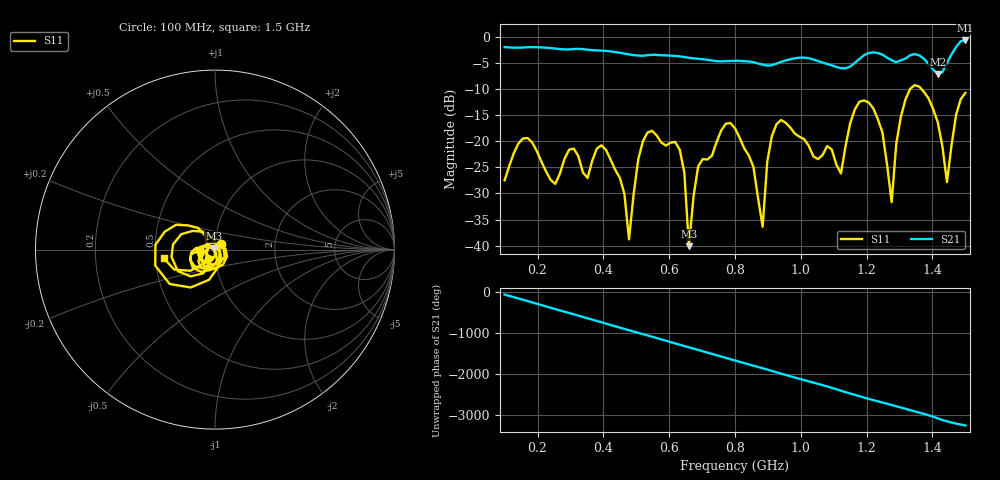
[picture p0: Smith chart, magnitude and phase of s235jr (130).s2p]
! NanoVNA-App
! Date: 2025-09-25 15:05:10
! Start: 100MHz Stop: 1,5GHz Points: 101
! S-Parameter data: F S11 S21 S12 S22
# Hz S RI R 50
!  Frequency  S11_Real  S11_Imag  S21_Real  S21_Imag  S12_Real  S12_Imag  S22_Real  S22_Imag
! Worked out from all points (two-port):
!   101 points, 100 MHz to 1.5 GHz, reference 50 ohm
!   highest |S21| = -0.70 dB at 1.5 GHz (marker M1); lowest = -7.1 dB at 1.416 GHz (marker M2)
!   |S21| within 3 dB of the highest: start of sweep to 625.5 MHz; 1.189 GHz to 1.255 GHz (66.28 MHz wide, 5.43 % of centre) (the widest 2 of 4)
!   lowest |S11| = -40.1 dB at 660 MHz (marker M3), VSWR 1.02, Z = 49.3 + j0.641 ohm
!   |S11| at or under -10 dB: start of sweep to 1.332 GHz; 1.366 GHz to end of sweep
!   S12 and S22 are empty: the file has one direction only
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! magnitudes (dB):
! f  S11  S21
! 100 MHz  -27.5  -2.0
! 156 MHz  -19.5  -2.1
! 338 MHz  -26.0  -2.4
! 408 MHz  -21.7  -2.7
! 478 MHz  -38.8  -3.4
! 520 MHz  -20.0  -3.6
! 576 MHz  -20.2  -3.5
! 632 MHz  -21.6  -3.7
! 660 MHz  -40.1  -4.0
! 688 MHz  -24.8  -4.2
! 800 MHz  -17.5  -4.6
! 884 MHz  -36.4  -5.3
! 898 MHz  -23.9  -5.5
! 926 MHz  -16.7  -5.1
! 1.038 GHz  -22.9  -4.4
! 1.122 GHz  -26.2  -6.0
! 1.206 GHz  -12.6  -3.1
! 1.276 GHz  -31.7  -4.5
! 1.332 GHz  -10.0  -3.5
! 1.416 GHz  -16.3  -7.1
! 1.444 GHz  -27.8  -5.0
! 1.5 GHz  -10.7  -0.7
